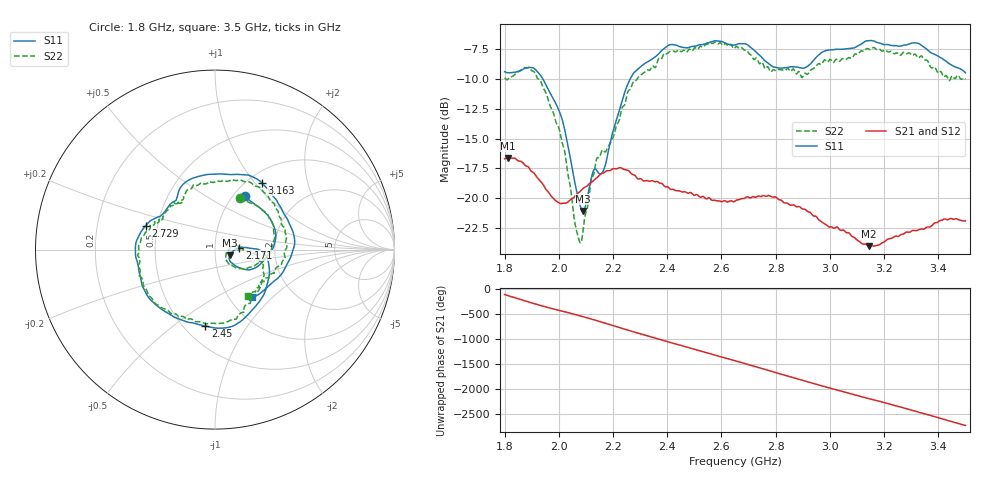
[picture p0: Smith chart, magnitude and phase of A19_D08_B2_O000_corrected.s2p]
! Created with skrf 1.9.0 (http://scikit-rf.org).
# Hz S RI R 50.0
!freq ReS11 ImS11 ReS21 ImS21 ReS12 ImS12 ReS22 ImS22
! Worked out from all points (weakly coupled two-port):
!   1601 points, 1.8 GHz to 3.5 GHz, reference 50 ohm
!   highest |S21| = -16.62 dB at 1.812 GHz (marker M1); lowest = -24.0 dB at 3.144 GHz (marker M2)
!   lowest |S11| = -21.1 dB at 2.09 GHz (marker M3), VSWR 1.19, Z = 58.8 - j3.86 ohm
!   |S11| at or under -10 dB: 1.941 GHz to 2.264 GHz (322.6 MHz wide, 15.3 % of centre)
!   |S22| runs from -23.7 to -6.9 dB; largest |S21 - S12| = 0.0029
!   S11 on the Smith chart (normalised r, x): 1.8 GHz: 1.13, +0.75; 2.171 GHz: 1.32, +0.03; 2.45 GHz: 0.63, -0.66; 2.729 GHz: 0.43, +0.14; 3.163 GHz: 1.16, +1.09; 3.5 GHz: 1.27, -0.76
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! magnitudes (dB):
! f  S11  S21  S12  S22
! 1.8 GHz  -9.4  -16.7  -16.7  -9.9
! 1.812 GHz  -9.5  -16.6  -16.6  -10.0
! 1.886 GHz  -9.1  -17.3  -17.4  -9.1
! 1.939 GHz  -9.9  -18.7  -18.8  -10.6
! 2.011 GHz  -13.3  -20.4  -20.4  -15.3
! 2.063 GHz  -19.2  -19.7  -19.7  -22.5
! 2.084 GHz  -20.9  -19.3  -19.3  -23.6
! 2.09 GHz  -21.1  -19.2  -19.2  -22.5
! 2.137 GHz  -17.6  -18.3  -18.3  -17.0
! 2.171 GHz  -17.3  -17.8  -17.8  -16.1
! 2.261 GHz  -10.1  -17.8  -17.8  -10.9
! 2.367 GHz  -7.9  -18.6  -18.6  -8.3
! 2.45 GHz  -7.3  -19.4  -19.4  -7.7
! 2.65 GHz  -7.2  -20.2  -20.2  -7.4
! 2.729 GHz  -7.8  -19.9  -19.9  -8.3
! 2.806 GHz  -9.1  -20.0  -20.0  -9.3
! 2.934 GHz  -8.6  -21.3  -21.3  -9.2
! 3.144 GHz  -6.8  -24.0  -23.9  -7.5
! 3.163 GHz  -6.8  -24.0  -24.0  -7.4
! 3.217 GHz  -7.2  -23.4  -23.4  -7.8
! 3.326 GHz  -7.0  -22.7  -22.6  -8.2
! 3.5 GHz  -9.5  -21.9  -21.9  -10.0
